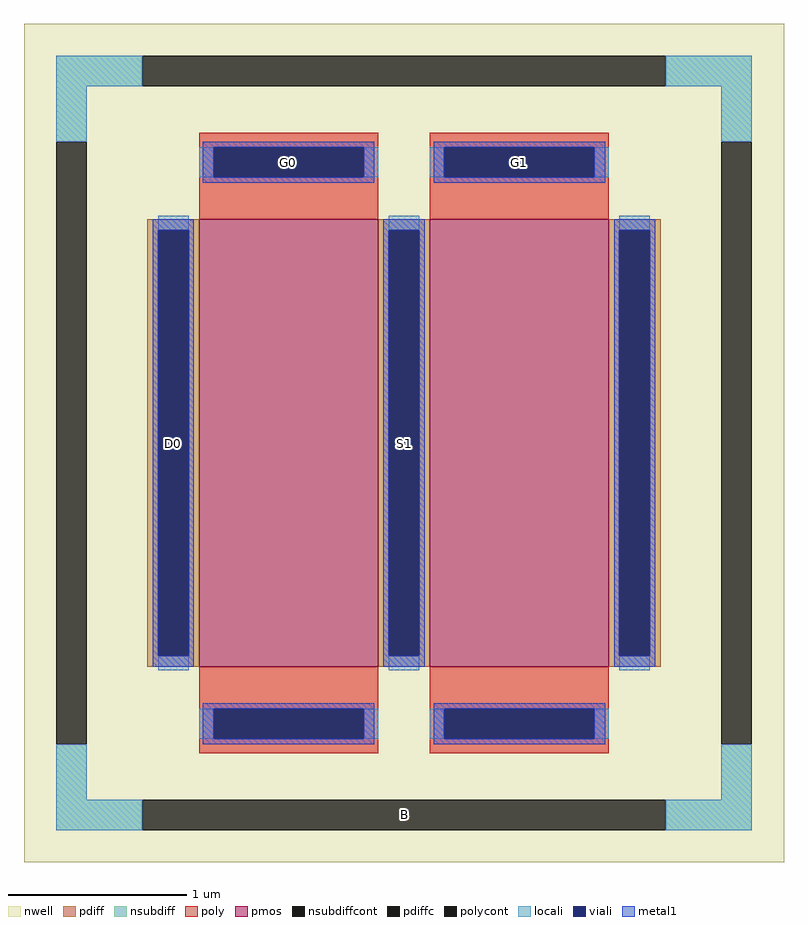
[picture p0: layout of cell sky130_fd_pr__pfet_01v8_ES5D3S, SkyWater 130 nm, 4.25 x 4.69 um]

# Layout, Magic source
magic
tech sky130A
magscale 1 2
<< nwell >>
rect -425 -469 425 469
<< pmos >>
rect -229 -250 -29 250
rect 29 -250 229 250
<< pdiff >>
rect -287 238 -229 250
rect -287 -238 -275 238
rect -241 -238 -229 238
rect -287 -250 -229 -238
rect -29 238 29 250
rect -29 -238 -17 238
rect 17 -238 29 238
rect -29 -250 29 -238
rect 229 238 287 250
rect 229 -238 241 238
rect 275 -238 287 238
rect 229 -250 287 -238
<< pdiffc >>
rect -275 -238 -241 238
rect -17 -238 17 238
rect 241 -238 275 238
<< nsubdiff >>
rect -389 399 -293 433
rect 293 399 389 433
rect -389 337 -355 399
rect 355 337 389 399
rect -389 -399 -355 -337
rect 355 -399 389 -337
rect -389 -433 -293 -399
rect 293 -433 389 -399
<< nsubdiffcont >>
rect -293 399 293 433
rect -389 -337 -355 337
rect 355 -337 389 337
rect -293 -433 293 -399
<< poly >>
rect -229 331 -29 347
rect -229 297 -213 331
rect -45 297 -29 331
rect -229 250 -29 297
rect 29 331 229 347
rect 29 297 45 331
rect 213 297 229 331
rect 29 250 229 297
rect -229 -297 -29 -250
rect -229 -331 -213 -297
rect -45 -331 -29 -297
rect -229 -347 -29 -331
rect 29 -297 229 -250
rect 29 -331 45 -297
rect 213 -331 229 -297
rect 29 -347 229 -331
<< polycont >>
rect -213 297 -45 331
rect 45 297 213 331
rect -213 -331 -45 -297
rect 45 -331 213 -297
<< locali >>
rect -389 399 -293 433
rect 293 399 389 433
rect -389 337 -355 399
rect 355 337 389 399
rect -229 297 -213 331
rect -45 297 -29 331
rect 29 297 45 331
rect 213 297 229 331
rect -275 238 -241 254
rect -275 -254 -241 -238
rect -17 238 17 254
rect -17 -254 17 -238
rect 241 238 275 254
rect 241 -254 275 -238
rect -229 -331 -213 -297
rect -45 -331 -29 -297
rect 29 -331 45 -297
rect 213 -331 229 -297
rect -389 -399 -355 -337
rect 355 -399 389 -337
rect -389 -433 -293 -399
rect 293 -433 389 -399
<< viali >>
rect -213 297 -45 331
rect 45 297 213 331
rect -275 -238 -241 238
rect -17 -238 17 238
rect 241 -238 275 238
rect -213 -331 -45 -297
rect 45 -331 213 -297
<< metal1 >>
rect -225 331 -33 337
rect -225 297 -213 331
rect -45 297 -33 331
rect -225 291 -33 297
rect 33 331 225 337
rect 33 297 45 331
rect 213 297 225 331
rect 33 291 225 297
rect -281 238 -235 250
rect -281 -238 -275 238
rect -241 -238 -235 238
rect -281 -250 -235 -238
rect -23 238 23 250
rect -23 -238 -17 238
rect 17 -238 23 238
rect -23 -250 23 -238
rect 235 238 281 250
rect 235 -238 241 238
rect 275 -238 281 238
rect 235 -250 281 -238
rect -225 -297 -33 -291
rect -225 -331 -213 -297
rect -45 -331 -33 -297
rect -225 -337 -33 -331
rect 33 -297 225 -291
rect 33 -331 45 -297
rect 213 -331 225 -297
rect 33 -337 225 -331
<< labels >>
rlabel nsubdiffcont 0 -416 0 -416 0 B
port 6 nsew
rlabel pdiffc -258 0 -258 0 0 D0
port 7 nsew
rlabel polycont -129 314 -129 314 0 G0
port 8 nsew
rlabel pdiffc 0 0 0 0 0 S1
port 9 nsew
rlabel polycont 129 314 129 314 0 G1
port 10 nsew
<< properties >>
string FIXED_BBOX -372 -416 372 416
string gencell sky130_fd_pr__pfet_01v8
string library sky130
string parameters w 2.5 l 1.0 m 1 nf 2 diffcov 100 polycov 100 guard 1 glc 1 grc 1 gtc 1 gbc 1 tbcov 100 rlcov 100 topc 1 botc 1 poverlap 0 doverlap 1 lmin 0.15 wmin 0.42 class mosfet compatible {sky130_fd_pr__pfet_01v8  sky130_fd_pr__pfet_01v8_lvt sky130_fd_pr__pfet_01v8_hvt  sky130_fd_pr__pfet_g5v0d10v5} full_metal 1 conn_gates 0 viasrc 100 viadrn 100 viagate 100 viagb 0 viagr 0 viagl 0 viagt 0 doports 1 ad 0.725 as 1.45 pd 5.58 ps 11.16 nrd 0.058 nrs 0.058 sa 0 sb 0 sd 0 mult 1
<< end >>
